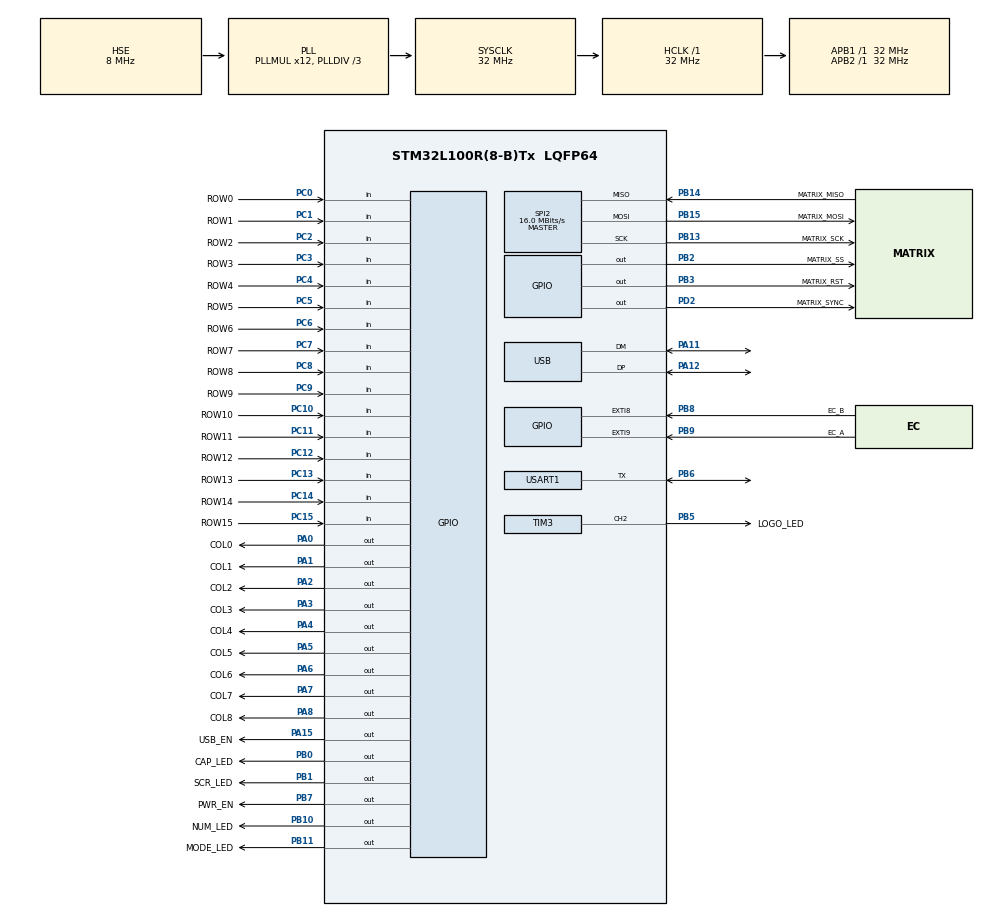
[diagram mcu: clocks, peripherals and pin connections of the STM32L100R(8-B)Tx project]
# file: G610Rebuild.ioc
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Dma.Request0=SPI2_TX
Dma.SPI2_TX.0.Direction=DMA_MEMORY_TO_PERIPH
Dma.SPI2_TX.0.Instance=DMA1_Channel5
Dma.SPI2_TX.0.MemDataAlignment=DMA_MDATAALIGN_BYTE
Dma.SPI2_TX.0.MemInc=DMA_MINC_ENABLE
Dma.SPI2_TX.0.Mode=DMA_NORMAL
Dma.SPI2_TX.0.PeriphDataAlignment=DMA_PDATAALIGN_BYTE
Dma.SPI2_TX.0.PeriphInc=DMA_PINC_DISABLE
Dma.SPI2_TX.0.Priority=DMA_PRIORITY_LOW
Mcu.Family=STM32L1
Mcu.Name=STM32L100R(8-B)Tx
Mcu.Package=LQFP64
NVIC.DMA1_Channel5_IRQn=true\:0\:0\:false\:false\:true\:false\:true
NVIC.EXTI9_5_IRQn=true\:4\:0\:true\:false\:true\:true\:true
NVIC.PriorityGroup=NVIC_PRIORITYGROUP_4
NVIC.SPI2_IRQn=true\:0\:0\:false\:false\:true\:true\:true
NVIC.TIM6_IRQn=true\:0\:0\:false\:false\:true\:true\:true
NVIC.USB_LP_IRQn=true\:3\:0\:true\:false\:true\:false\:true
PA0-WKUP1.GPIO_Label=COL0
PA0-WKUP1.GPIO_Speed=GPIO_SPEED_FREQ_VERY_HIGH
PA0-WKUP1.PinState=GPIO_PIN_SET
PA0-WKUP1.Signal=GPIO_Output
PA1.GPIO_Label=COL1
PA1.GPIO_Speed=GPIO_SPEED_FREQ_VERY_HIGH
PA1.PinState=GPIO_PIN_SET
PA1.Signal=GPIO_Output
PA11.Mode=Device
PA11.Signal=USB_DM
PA12.Mode=Device
PA12.Signal=USB_DP
PA13.GPIO_Label=SWDIO
PA13.Mode=Serial_Wire
PA13.Signal=SYS_JTMS-SWDIO
PA14.GPIO_Label=SWCLK
PA14.Mode=Serial_Wire
PA14.Signal=SYS_JTCK-SWCLK
PA15.GPIO_Label=USB_EN
PA15.GPIO_Speed=GPIO_SPEED_FREQ_LOW
PA15.Signal=GPIO_Output
PA2.GPIO_Label=COL2
PA2.GPIO_Speed=GPIO_SPEED_FREQ_VERY_HIGH
PA2.PinState=GPIO_PIN_SET
PA2.Signal=GPIO_Output
PA3.GPIO_Label=COL3
PA3.GPIO_Speed=GPIO_SPEED_FREQ_VERY_HIGH
PA3.PinState=GPIO_PIN_SET
PA3.Signal=GPIO_Output
PA4.GPIO_Label=COL4
PA4.GPIO_Speed=GPIO_SPEED_FREQ_VERY_HIGH
PA4.PinState=GPIO_PIN_SET
PA4.Signal=GPIO_Output
PA5.GPIO_Label=COL5
PA5.GPIO_Speed=GPIO_SPEED_FREQ_VERY_HIGH
PA5.PinState=GPIO_PIN_SET
PA5.Signal=GPIO_Output
PA6.GPIO_Label=COL6
PA6.GPIO_Speed=GPIO_SPEED_FREQ_VERY_HIGH
PA6.PinState=GPIO_PIN_SET
PA6.Signal=GPIO_Output
PA7.GPIO_Label=COL7
PA7.GPIO_Speed=GPIO_SPEED_FREQ_VERY_HIGH
PA7.PinState=GPIO_PIN_SET
PA7.Signal=GPIO_Output
PA8.GPIO_Label=COL8
PA8.GPIO_Speed=GPIO_SPEED_FREQ_VERY_HIGH
PA8.PinState=GPIO_PIN_SET
PA8.Signal=GPIO_Output
PB0.GPIO_Label=CAP_LED
PB0.GPIO_ModeDefaultOutputPP=GPIO_MODE_OUTPUT_PP
PB0.GPIO_PuPd=GPIO_NOPULL
PB0.Signal=GPIO_Output
PB1.GPIO_Label=SCR_LED
PB1.GPIO_ModeDefaultOutputPP=GPIO_MODE_OUTPUT_PP
PB1.GPIO_PuPd=GPIO_NOPULL
PB1.Signal=GPIO_Output
PB10.GPIO_Label=NUM_LED
PB10.GPIO_ModeDefaultOutputPP=GPIO_MODE_OUTPUT_PP
PB10.GPIO_PuPd=GPIO_NOPULL
PB10.Signal=GPIO_Output
PB11.GPIO_Label=MODE_LED
PB11.GPIO_ModeDefaultOutputPP=GPIO_MODE_OUTPUT_PP
PB11.GPIO_PuPd=GPIO_NOPULL
PB11.Signal=GPIO_Output
PB13.GPIO_Label=MATRIX_SCK
PB13.Mode=Full_Duplex_Master
PB13.Signal=SPI2_SCK
PB14.GPIO_Label=MATRIX_MISO
PB14.Mode=Full_Duplex_Master
PB14.Signal=SPI2_MISO
PB15.GPIO_Label=MATRIX_MOSI
PB15.Mode=Full_Duplex_Master
PB15.Signal=SPI2_MOSI
PB2.GPIO_Label=MATRIX_SS
PB2.GPIO_Speed=GPIO_SPEED_FREQ_VERY_HIGH
PB2.PinState=GPIO_PIN_SET
PB2.Signal=GPIO_Output
PB3.GPIO_Label=MATRIX_RST
PB3.Signal=GPIO_Output
PB5.GPIO_Label=LOGO_LED
PB5.Signal=S_TIM3_CH2
PB6.Mode=Half_duplex(single_wire_mode)
PB6.Signal=USART1_TX
PB7.GPIO_Label=PWR_EN
PB7.PinState=GPIO_PIN_SET
PB7.Signal=GPIO_Output
PB8.GPIO_Label=EC_B
PB8.GPIO_ModeDefaultEXTI=GPIO_MODE_IT_FALLING
PB8.GPIO_PuPd=GPIO_PULLUP
PB8.Signal=GPXTI8
PB9.GPIO_Label=EC_A
PB9.GPIO_ModeDefaultEXTI=GPIO_MODE_IT_RISING
PB9.GPIO_PuPd=GPIO_PULLUP
PB9.Signal=GPXTI9
PC0.GPIO_Label=ROW0
PC0.GPIO_PuPd=GPIO_PULLUP
PC0.Signal=GPIO_Input
PC1.GPIO_Label=ROW1
PC1.GPIO_PuPd=GPIO_PULLUP
PC1.Signal=GPIO_Input
PC10.GPIO_Label=ROW10
PC10.GPIO_PuPd=GPIO_PULLUP
PC10.Signal=GPIO_Input
PC11.GPIO_Label=ROW11
PC11.GPIO_PuPd=GPIO_PULLUP
PC11.Signal=GPIO_Input
PC12.GPIO_Label=ROW12
PC12.GPIO_PuPd=GPIO_PULLUP
PC12.Signal=GPIO_Input
PC13-WKUP2.GPIO_Label=ROW13
PC13-WKUP2.GPIO_PuPd=GPIO_PULLUP
PC13-WKUP2.Signal=GPIO_Input
PC14-OSC32_IN.GPIO_Label=ROW14
PC14-OSC32_IN.GPIO_PuPd=GPIO_PULLUP
PC14-OSC32_IN.Signal=GPIO_Input
PC15-OSC32_OUT.GPIO_Label=ROW15
PC15-OSC32_OUT.GPIO_PuPd=GPIO_PULLUP
PC15-OSC32_OUT.Signal=GPIO_Input
PC2.GPIO_Label=ROW2
PC2.GPIO_PuPd=GPIO_PULLUP
PC2.Signal=GPIO_Input
PC3.GPIO_Label=ROW3
PC3.GPIO_PuPd=GPIO_PULLUP
PC3.Signal=GPIO_Input
PC4.GPIO_Label=ROW4
PC4.GPIO_PuPd=GPIO_PULLUP
PC4.Signal=GPIO_Input
PC5.GPIO_Label=ROW5
PC5.GPIO_PuPd=GPIO_PULLUP
PC5.Signal=GPIO_Input
PC6.GPIO_Label=ROW6
PC6.GPIO_PuPd=GPIO_PULLUP
PC6.Signal=GPIO_Input
PC7.GPIO_Label=ROW7
PC7.GPIO_PuPd=GPIO_PULLUP
PC7.Signal=GPIO_Input
PC8.GPIO_Label=ROW8
PC8.GPIO_PuPd=GPIO_PULLUP
PC8.Signal=GPIO_Input
PC9.GPIO_Label=ROW9
PC9.GPIO_PuPd=GPIO_PULLUP
PC9.Signal=GPIO_Input
PD2.GPIO_Label=MATRIX_SYNC
PD2.Signal=GPIO_Output
PH0-OSC_IN.Mode=HSE-External-Oscillator
PH0-OSC_IN.Signal=RCC_OSC_IN
PH1-OSC_OUT.Mode=HSE-External-Oscillator
PH1-OSC_OUT.Signal=RCC_OSC_OUT
ProjectManager.HeapSize=0x400
ProjectManager.StackSize=0x800
ProjectManager.TargetToolchain=Makefile
RCC.48MHZClocksFreq_Value=48000000
RCC.AHBFreq_Value=32000000
RCC.APB1Freq_Value=32000000
RCC.APB1TimFreq_Value=32000000
RCC.APB2Freq_Value=32000000
RCC.APB2TimFreq_Value=32000000
RCC.HCLKFreq_Value=32000000
RCC.HSE_VALUE=8000000
RCC.HSI_VALUE=16000000
RCC.LSE_VALUE=32768
RCC.MSI_VALUE=2097000
RCC.PLLDIV=RCC_PLL_DIV3
RCC.PLLMUL=RCC_PLL_MUL12
RCC.SYSCLKFreq_VALUE=32000000
RCC.SYSCLKSource=RCC_SYSCLKSOURCE_PLLCLK
RCC.VCOOutputFreq_Value=96000000
SH.S_TIM3_CH2.0=TIM3_CH2,PWM Generation2 CH2
SPI2.BaudRatePrescaler=SPI_BAUDRATEPRESCALER_2
SPI2.CalculateBaudRate=16.0 MBits/s
SPI2.Direction=SPI_DIRECTION_2LINES
SPI2.Mode=SPI_MODE_MASTER
SPI2.VirtualType=VM_MASTER
TIM3.Channel-PWM\ Generation2\ CH2=TIM_CHANNEL_2
TIM3.OCPolarity_2=TIM_OCPOLARITY_HIGH
TIM3.Period=255
TIM3.Prescaler=10
TIM6.Period=999
TIM6.Prescaler=31
USART1.VirtualMode=VM_ASYNC
USB_DEVICE.CLASS_NAME_FS=HID
USB_DEVICE.MANUFACTURER_STRING=Lingex
USB_DEVICE.PID_HID_FS=20187
USB_DEVICE.PRODUCT_STRING_HID_FS=Lingex Rebuild G610
USB_DEVICE.VirtualMode=Hid
USB_DEVICE.VirtualModeFS=Hid_FS
VP_TIM6_VS_ClockSourceINT.Mode=Enable_Timer
VP_USB_DEVICE_VS_USB_DEVICE_HID_FS.Mode=HID_FS
board=custom

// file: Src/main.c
/* USER CODE BEGIN Header */
/**
  ******************************************************************************
  * @file           : main.c
  * @brief          : Main program body
  ******************************************************************************
  * @attention
  *
  * <h2><center>&copy; Copyright (c) 2020 STMicroelectronics.
  * All rights reserved.</center></h2>
  *
  * This software component is licensed by ST under Ultimate Liberty license
  * SLA0044, the "License"; You may not use this file except in compliance with
  * the License. You may obtain a copy of the License at:
  *                             www.st.com/SLA0044
  *
  ******************************************************************************
  */
/* USER CODE END Header */
#include "main.h"
#include "usb_device.h"

/* USER CODE BEGIN Includes */
#include "usbd_hid.h"
#include "usbhid.h"
#include "state_led.h"
#include "keyboard.h"
#include "matrix_led.h"
#include "ztask.h"

/* USER CODE END Includes */

/* USER CODE BEGIN PM */

const unsigned char KEYBOARD_Value_Map[MAX_COL][MAX_ROW] =
{
  {0           ,0        ,0                   ,0          ,0             ,0           ,0             ,0          ,KC_GAME  ,KC_BACKLIGHT,KC_MEDIA_PLAY ,KC_MEDIA_STOP,KC_MEDIA_SCAN_NEXT,KC_MEDIA_SCAN_PREV,KC_KP_MINUS     ,KC_MEDIA_MUTE,},
  {KC_ESCAPE   ,KC_F1    ,KC_F2               ,KC_F3      ,KC_F4         ,KC_F5       ,KC_F6         ,KC_F7      ,KC_F8    ,KC_F9       ,KC_F10        ,KC_F11       ,KC_F12            ,KC_PRINTSCREEN    ,KC_SCROLL_LOCK  ,KC_PAUSE    ,},
  {0           ,0        ,KC_TILDE            ,KC_1       ,KC_2          ,KC_3        ,KC_4          ,KC_5       ,KC_6     ,KC_7        ,KC_8          ,KC_9         ,KC_0              ,KC_UNDERSCORE     ,KC_PLUS         ,0           ,},
  {0           ,0        ,KC_TAB              ,KC_Q       ,KC_W          ,KC_E        ,KC_R          ,KC_T       ,KC_Y     ,KC_U        ,KC_I          ,KC_O         ,KC_P              ,KC_OPEN_BRACKET   ,KC_CLOSE_BRACKET,KC_BACKSLASH,},
  {0           ,0        ,KC_CAPS_LOCK        ,KC_A       ,KC_S          ,KC_D        ,KC_F          ,KC_G       ,KC_H     ,KC_J        ,KC_K          ,KC_L         ,KC_COLON          ,KC_QUOTE          ,0               ,KC_ENTER    ,},
  {0           ,0        ,KC_LSHIFT           ,0          ,KC_Z          ,KC_X        ,KC_C          ,KC_V       ,KC_B     ,KC_N        ,KC_M          ,KC_COMMA     ,KC_DOT            ,KC_SLASH          ,0               ,KC_RSHIFT   ,},
  {0           ,0        ,KC_LCTRL            ,KC_LGUI    ,KC_LALT       ,0           ,0             ,KC_SPACEBAR,0        ,0           ,0             ,KC_RALT      ,KC_RGUI           ,KC_FN             ,KC_RCTRL        ,KC_LEFT     ,},
  {KC_BACKSPACE,KC_INSERT,KC_HOME             ,KC_PAGEUP  ,KC_KP_NUM_LOCK,KC_KP_DIVIDE,KC_KP_MULTIPLY,KC_KP_PLUS ,KC_DELETE,KC_END      ,KC_PAGEDOWN   ,KC_KP_7      ,KC_KP_8           ,KC_KP_9           ,KC_KP_4         ,KC_KP_5     ,},
  {KC_RIGHT    ,KC_KP_0  ,KC_KP_DOT           ,KC_KP_ENTER,KC_KP_1       ,KC_KP_2     ,KC_KP_6       ,KC_KP_3    ,KC_DOWN  ,KC_UP       ,0             ,0            ,0                 ,0                 ,0               ,0           ,},
};

/* USER CODE END PM */

SPI_HandleTypeDef hspi2;
DMA_HandleTypeDef hdma_spi2_tx;

TIM_HandleTypeDef htim3;
TIM_HandleTypeDef htim6;

UART_HandleTypeDef huart1;

/* USER CODE BEGIN PV */

extern USBD_HandleTypeDef hUsbDeviceFS;

uint8_t keyChange = 0;
uint8_t brightnessChange = 0;

struct kbReportSt kbReport = {0};
struct nkroReportSt nkroReport = {0};

uint8_t brightness = 0;
uint8_t gameMode = 0;
uint8_t insertEnable = 0;
uint8_t smearLight = 0;
uint8_t numLockGuard = 0;

volatile bool time_1ms = false;

uint16_t intPin = 0;

volatile int16_t encoderCount = 0;

int zt_bindIdEncoder = 0; //encoder task restore bind id
int zt_bindIdCfgSave = 0;
int zt_bindIdEcDebounce = 0;
int zt_bindIdNumLockUp = 0;
int zt_bindIdNumLockDown = 0;
int zt_bindIdNumLockGuard = 0;

typedef void(*pFunction)(void);
pFunction JumpToApplication;
uint32_t JumpAddress;

/* USER CODE END PV */

void SystemClock_Config(void);
static void MX_GPIO_Init(void);
static void MX_DMA_Init(void);
static void MX_SPI2_Init(void);
static void MX_USART1_UART_Init(void);
static void MX_TIM3_Init(void);
static void MX_TIM6_Init(void);
/* USER CODE BEGIN PFP */

extern void KeyCheck(void);

void WriteEEPROM(uint32_t addr, uint32_t val);

void GameModeSw(void);
void InsertEnableSw(void);
void SmearLightEnableSw(void);
void NumLockGuardEnableSw(void);

void BrightnessSave(void);
void MediaKeyDown(uint8_t key);
void MediaKeyUp(void);
void VolumeKeyDown(uint8_t key);
void VolumeKeyUp(void);

void HAL_GPIO_EXTI_Callback(uint16_t GPIO_Pin);

void SetConfigSaveTask(void);

void ConfigSave(void);

void EncoderCheck(void);
void EncoderDebounce(void);
void NumLockTaskActive(void);
void NumLockTaskDeActive(void);
void NumLockDown(void);
void NumLockUp(void);
void NumLockGuard(void);
void DfuMode(void);
void MatrixTimer(void);

void RunOfficialApp(void);

/* USER CODE END PFP */

int main(void)
{
  /* USER CODE BEGIN 1 */
#ifndef _DEBUG_

	SCB->VTOR = APP_ADDR;

#else

	char debugBuff[64] = {'0'};

#endif

  /* USER CODE END 1 */

  /* MCU Configuration--------------------------------------------------------*/

  /* Reset of all peripherals, Initializes the Flash interface and the Systick. */
  HAL_Init();

  /* Configure the system clock */
  SystemClock_Config();

  /* Initialize all configured peripherals */
  MX_GPIO_Init();
  MX_DMA_Init();
  MX_USB_DEVICE_Init();
  MX_SPI2_Init();
  MX_USART1_UART_Init();
  MX_TIM3_Init();
  MX_TIM6_Init();
  /* USER CODE BEGIN 2 */

	  //wait connection OK
	while (hUsbDeviceFS.dev_config == 0)
	{
		SetLogoLED(50);
		HAL_Delay(100);
	}

#ifdef _DEBUG_
	sprintf(debugBuff, "keyboard: usb connected\n");
	HAL_UART_Transmit(&huart1, (uint8_t *)debugBuff, 64, 100);
#endif

	brightness = *(uint32_t*)BL_SETTING_ADDR;
	//gameMode = *(uint32_t*)MODE_SETTING_ADDR;
	insertEnable = *(uint32_t*)INSERT_SETTING_ADDR;
  smearLight = *(uint32_t*)SMEAR_SETTING_ADDR;
  numLockGuard = *(uint32_t*)NUM_LOCK_GUARD_SETTING_ADDR;

	SetModeLED(gameMode);

	MatrixInit();

	zt_bindIdEncoder = zt_bind(VolumeKeyUp, 20, 0);		//Volume adj key hold time
	zt_bindIdCfgSave = zt_bind(ConfigSave, 5000, 0);   //configs save delay when changed
	zt_bindIdEcDebounce = zt_bind(EncoderDebounce, 1, 0);
	zt_bindIdNumLockDown = zt_bind(NumLockDown, (int)(((uint8_t)HAL_GetTick()) + 100), 0);
	zt_bindIdNumLockUp = zt_bind(NumLockUp, 20, 0);
	zt_bindIdNumLockGuard = zt_bind(NumLockGuard, 25, 0);
	zt_bind(EncoderCheck, 10, 1);
	zt_bind(KeyCheck, 1, 1);

  zt_bind(MatrixTaskTimer, 1, 1);

	//zt_bind(MatrixTimer, 10, 1);
	zt_bind(MatrixTimer, 2, 1);

	kbReport.id = 1;		//report id
	nkroReport.id = NKRO_REPORT_ID;		//report id

  /* USER CODE END 2 */

  /* Infinite loop */
	while (1)
	{

    /* USER CODE BEGIN 3 */
		if (keyChange != 0)
		{
			keyChange = 0;
			if (gameMode == 0)
			{
				USBD_HID_SendReport(&hUsbDeviceFS, (uint8_t*)&kbReport, 9);	//6kro
			}
			else
			{
				nkroReport.modify = kbReport.modify;
				USBD_HID_SendNkroReport(&hUsbDeviceFS, (uint8_t*)&nkroReport, 25);	//nkro
			}

			//char debugBuff[64];
			//sprintf(debugBuff, "report modify[%u], [%u][%u][%u][%u][%u][%u]\n", kbReport.modify, kbReport.keys[0], kbReport.keys[1], kbReport.keys[2], kbReport.keys[3], kbReport.keys[4], kbReport.keys[5]);
			//HAL_UART_Transmit(&huart1, (uint8_t *)debugBuff, 64, 100);
		}
    if (brightnessChange != 0)
    {
      brightnessChange = 0;
      MatrixBrightnessChange();
    }

		if (time_1ms)
		{
			time_1ms = false;
			zt_tick();
			zt_poll();    //task execute
		}
		//on usb disconnect
		//another flag that can be use is dev_config = 0
		if (hUsbDeviceFS.dev_state != USBD_STATE_CONFIGURED)
		{
			//reset
#ifdef _DEBUG_
      sprintf(debugBuff, "keyboard: usb disconnected\n");
	    HAL_UART_Transmit(&huart1, (uint8_t *)debugBuff, 64, 100);
#endif
			HAL_Delay(500);
			DfuMode();
		}
	}
  /* USER CODE END 3 */
}

void SystemClock_Config(void)
{
  RCC_OscInitTypeDef RCC_OscInitStruct = {0};
  RCC_ClkInitTypeDef RCC_ClkInitStruct = {0};

  /** Configure the main internal regulator output voltage
  */
  __HAL_PWR_VOLTAGESCALING_CONFIG(PWR_REGULATOR_VOLTAGE_SCALE1);
  /** Initializes the RCC Oscillators according to the specified parameters
  * in the RCC_OscInitTypeDef structure.
  */
  RCC_OscInitStruct.OscillatorType = RCC_OSCILLATORTYPE_HSE;
  RCC_OscInitStruct.HSEState = RCC_HSE_ON;
  RCC_OscInitStruct.PLL.PLLState = RCC_PLL_ON;
  RCC_OscInitStruct.PLL.PLLSource = RCC_PLLSOURCE_HSE;
  RCC_OscInitStruct.PLL.PLLMUL = RCC_PLL_MUL12;
  RCC_OscInitStruct.PLL.PLLDIV = RCC_PLL_DIV3;
  if (HAL_RCC_OscConfig(&RCC_OscInitStruct) != HAL_OK)
  {
    Error_Handler();
  }
  /** Initializes the CPU, AHB and APB buses clocks
  */
  RCC_ClkInitStruct.ClockType = RCC_CLOCKTYPE_HCLK|RCC_CLOCKTYPE_SYSCLK
                              |RCC_CLOCKTYPE_PCLK1|RCC_CLOCKTYPE_PCLK2;
  RCC_ClkInitStruct.SYSCLKSource = RCC_SYSCLKSOURCE_PLLCLK;
  RCC_ClkInitStruct.AHBCLKDivider = RCC_SYSCLK_DIV1;
  RCC_ClkInitStruct.APB1CLKDivider = RCC_HCLK_DIV1;
  RCC_ClkInitStruct.APB2CLKDivider = RCC_HCLK_DIV1;

  if (HAL_RCC_ClockConfig(&RCC_ClkInitStruct, FLASH_LATENCY_1) != HAL_OK)
  {
    Error_Handler();
  }
}

static void MX_SPI2_Init(void)
{

  /* SPI2 parameter configuration*/
  hspi2.Instance = SPI2;
  hspi2.Init.Mode = SPI_MODE_MASTER;
  hspi2.Init.Direction = SPI_DIRECTION_2LINES;
  hspi2.Init.DataSize = SPI_DATASIZE_8BIT;
  hspi2.Init.CLKPolarity = SPI_POLARITY_LOW;
  hspi2.Init.CLKPhase = SPI_PHASE_1EDGE;
  hspi2.Init.NSS = SPI_NSS_SOFT;
  hspi2.Init.BaudRatePrescaler = SPI_BAUDRATEPRESCALER_2;
  hspi2.Init.FirstBit = SPI_FIRSTBIT_MSB;
  hspi2.Init.TIMode = SPI_TIMODE_DISABLE;
  hspi2.Init.CRCCalculation = SPI_CRCCALCULATION_DISABLE;
  hspi2.Init.CRCPolynomial = 10;
  if (HAL_SPI_Init(&hspi2) != HAL_OK)
  {
    Error_Handler();
  }

}

static void MX_TIM3_Init(void)
{

  TIM_MasterConfigTypeDef sMasterConfig = {0};
  TIM_OC_InitTypeDef sConfigOC = {0};

  htim3.Instance = TIM3;
  htim3.Init.Prescaler = 10;
  htim3.Init.CounterMode = TIM_COUNTERMODE_UP;
  htim3.Init.Period = 255;
  htim3.Init.ClockDivision = TIM_CLOCKDIVISION_DIV1;
  htim3.Init.AutoReloadPreload = TIM_AUTORELOAD_PRELOAD_DISABLE;
  if (HAL_TIM_PWM_Init(&htim3) != HAL_OK)
  {
    Error_Handler();
  }
  sMasterConfig.MasterOutputTrigger = TIM_TRGO_RESET;
  sMasterConfig.MasterSlaveMode = TIM_MASTERSLAVEMODE_DISABLE;
  if (HAL_TIMEx_MasterConfigSynchronization(&htim3, &sMasterConfig) != HAL_OK)
  {
    Error_Handler();
  }
  sConfigOC.OCMode = TIM_OCMODE_PWM1;
  sConfigOC.Pulse = 0;
  sConfigOC.OCPolarity = TIM_OCPOLARITY_HIGH;
  sConfigOC.OCFastMode = TIM_OCFAST_DISABLE;
  if (HAL_TIM_PWM_ConfigChannel(&htim3, &sConfigOC, TIM_CHANNEL_2) != HAL_OK)
  {
    Error_Handler();
  }
  /* USER CODE BEGIN TIM3_Init 2 */
	HAL_TIM_PWM_Start(&htim3, TIM_CHANNEL_2);
  /* USER CODE END TIM3_Init 2 */
  HAL_TIM_MspPostInit(&htim3);

}

static void MX_TIM6_Init(void)
{

  TIM_MasterConfigTypeDef sMasterConfig = {0};

  htim6.Instance = TIM6;
  htim6.Init.Prescaler = 31;
  htim6.Init.CounterMode = TIM_COUNTERMODE_UP;
  htim6.Init.Period = 999;
  htim6.Init.AutoReloadPreload = TIM_AUTORELOAD_PRELOAD_DISABLE;
  if (HAL_TIM_Base_Init(&htim6) != HAL_OK)
  {
    Error_Handler();
  }
  sMasterConfig.MasterOutputTrigger = TIM_TRGO_RESET;
  sMasterConfig.MasterSlaveMode = TIM_MASTERSLAVEMODE_DISABLE;
  if (HAL_TIMEx_MasterConfigSynchronization(&htim6, &sMasterConfig) != HAL_OK)
  {
    Error_Handler();
  }
  /* USER CODE BEGIN TIM6_Init 2 */
	HAL_TIM_Base_Start_IT(&htim6);
  /* USER CODE END TIM6_Init 2 */

}

static void MX_USART1_UART_Init(void)
{

  huart1.Instance = USART1;
  huart1.Init.BaudRate = 115200;
  huart1.Init.WordLength = UART_WORDLENGTH_8B;
  huart1.Init.StopBits = UART_STOPBITS_1;
  huart1.Init.Parity = UART_PARITY_NONE;
  huart1.Init.Mode = UART_MODE_TX_RX;
  huart1.Init.HwFlowCtl = UART_HWCONTROL_NONE;
  huart1.Init.OverSampling = UART_OVERSAMPLING_16;
  if (HAL_HalfDuplex_Init(&huart1) != HAL_OK)
  {
    Error_Handler();
  }
  /* USER CODE BEGIN USART1_Init 2 */
	HAL_HalfDuplex_EnableTransmitter(&huart1);
  /* USER CODE END USART1_Init 2 */

}

static void MX_DMA_Init(void)
{

  /* DMA controller clock enable */
  __HAL_RCC_DMA1_CLK_ENABLE();

  /* DMA interrupt init */
  /* DMA1_Channel5_IRQn interrupt configuration */
  HAL_NVIC_SetPriority(DMA1_Channel5_IRQn, 0, 0);
  HAL_NVIC_EnableIRQ(DMA1_Channel5_IRQn);

}

static void MX_GPIO_Init(void)
{
  GPIO_InitTypeDef GPIO_InitStruct = {0};

  /* GPIO Ports Clock Enable */
  __HAL_RCC_GPIOC_CLK_ENABLE();
  __HAL_RCC_GPIOH_CLK_ENABLE();
  __HAL_RCC_GPIOA_CLK_ENABLE();
  __HAL_RCC_GPIOB_CLK_ENABLE();
  __HAL_RCC_GPIOD_CLK_ENABLE();

  /*Configure GPIO pin Output Level */
  HAL_GPIO_WritePin(GPIOA, COL0_Pin|COL1_Pin|COL2_Pin|COL3_Pin
                          |COL4_Pin|COL5_Pin|COL6_Pin|COL7_Pin
                          |COL8_Pin, GPIO_PIN_SET);

  /*Configure GPIO pin Output Level */
  HAL_GPIO_WritePin(GPIOB, CAP_LED_Pin|SCR_LED_Pin|NUM_LED_Pin|MODE_LED_Pin
                          |MATRIX_RST_Pin, GPIO_PIN_RESET);

  /*Configure GPIO pin Output Level */
  HAL_GPIO_WritePin(GPIOB, MATRIX_SS_Pin|PWR_EN_Pin, GPIO_PIN_SET);

  /*Configure GPIO pin Output Level */
  HAL_GPIO_WritePin(USB_EN_GPIO_Port, USB_EN_Pin, GPIO_PIN_RESET);

  /*Configure GPIO pin Output Level */
  HAL_GPIO_WritePin(MATRIX_SYNC_GPIO_Port, MATRIX_SYNC_Pin, GPIO_PIN_RESET);

  /*Configure GPIO pins : ROW13_Pin ROW14_Pin ROW15_Pin ROW0_Pin
                           ROW1_Pin ROW2_Pin ROW3_Pin ROW4_Pin
                           ROW5_Pin ROW6_Pin ROW7_Pin ROW8_Pin
                           ROW9_Pin ROW10_Pin ROW11_Pin ROW12_Pin */
  GPIO_InitStruct.Pin = ROW13_Pin|ROW14_Pin|ROW15_Pin|ROW0_Pin
                          |ROW1_Pin|ROW2_Pin|ROW3_Pin|ROW4_Pin
                          |ROW5_Pin|ROW6_Pin|ROW7_Pin|ROW8_Pin
                          |ROW9_Pin|ROW10_Pin|ROW11_Pin|ROW12_Pin;
  GPIO_InitStruct.Mode = GPIO_MODE_INPUT;
  GPIO_InitStruct.Pull = GPIO_PULLUP;
  HAL_GPIO_Init(GPIOC, &GPIO_InitStruct);

  /*Configure GPIO pins : COL0_Pin COL1_Pin COL2_Pin COL3_Pin
                           COL4_Pin COL5_Pin COL6_Pin COL7_Pin
                           COL8_Pin */
  GPIO_InitStruct.Pin = COL0_Pin|COL1_Pin|COL2_Pin|COL3_Pin
                          |COL4_Pin|COL5_Pin|COL6_Pin|COL7_Pin
                          |COL8_Pin;
  GPIO_InitStruct.Mode = GPIO_MODE_OUTPUT_PP;
  GPIO_InitStruct.Pull = GPIO_NOPULL;
  GPIO_InitStruct.Speed = GPIO_SPEED_FREQ_VERY_HIGH;
  HAL_GPIO_Init(GPIOA, &GPIO_InitStruct);

  /*Configure GPIO pins : CAP_LED_Pin SCR_LED_Pin NUM_LED_Pin MODE_LED_Pin
                           MATRIX_RST_Pin PWR_EN_Pin */
  GPIO_InitStruct.Pin = CAP_LED_Pin|SCR_LED_Pin|NUM_LED_Pin|MODE_LED_Pin
                          |MATRIX_RST_Pin|PWR_EN_Pin;
  GPIO_InitStruct.Mode = GPIO_MODE_OUTPUT_PP;
  GPIO_InitStruct.Pull = GPIO_NOPULL;
  GPIO_InitStruct.Speed = GPIO_SPEED_FREQ_LOW;
  HAL_GPIO_Init(GPIOB, &GPIO_InitStruct);

  /*Configure GPIO pin : MATRIX_SS_Pin */
  GPIO_InitStruct.Pin = MATRIX_SS_Pin;
  GPIO_InitStruct.Mode = GPIO_MODE_OUTPUT_PP;
  GPIO_InitStruct.Pull = GPIO_NOPULL;
  GPIO_InitStruct.Speed = GPIO_SPEED_FREQ_VERY_HIGH;
  HAL_GPIO_Init(MATRIX_SS_GPIO_Port, &GPIO_InitStruct);

  /*Configure GPIO pin : USB_EN_Pin */
  GPIO_InitStruct.Pin = USB_EN_Pin;
  GPIO_InitStruct.Mode = GPIO_MODE_OUTPUT_PP;
  GPIO_InitStruct.Pull = GPIO_NOPULL;
  GPIO_InitStruct.Speed = GPIO_SPEED_FREQ_LOW;
  HAL_GPIO_Init(USB_EN_GPIO_Port, &GPIO_InitStruct);

  /*Configure GPIO pin : MATRIX_SYNC_Pin */
  GPIO_InitStruct.Pin = MATRIX_SYNC_Pin;
  GPIO_InitStruct.Mode = GPIO_MODE_OUTPUT_PP;
  GPIO_InitStruct.Pull = GPIO_NOPULL;
  GPIO_InitStruct.Speed = GPIO_SPEED_FREQ_LOW;
  HAL_GPIO_Init(MATRIX_SYNC_GPIO_Port, &GPIO_InitStruct);

  /*Configure GPIO pin : EC_B_Pin */
  GPIO_InitStruct.Pin = EC_B_Pin;
  GPIO_InitStruct.Mode = GPIO_MODE_IT_FALLING;
  GPIO_InitStruct.Pull = GPIO_PULLUP;
  HAL_GPIO_Init(EC_B_GPIO_Port, &GPIO_InitStruct);

  /*Configure GPIO pin : EC_A_Pin */
  GPIO_InitStruct.Pin = EC_A_Pin;
  GPIO_InitStruct.Mode = GPIO_MODE_IT_RISING;
  GPIO_InitStruct.Pull = GPIO_PULLUP;
  HAL_GPIO_Init(EC_A_GPIO_Port, &GPIO_InitStruct);

  /* EXTI interrupt init*/
  HAL_NVIC_SetPriority(EXTI9_5_IRQn, 4, 0);
  HAL_NVIC_EnableIRQ(EXTI9_5_IRQn);

}

/* USER CODE BEGIN 4 */

/**
  * @brief  Tx Transfer completed callback.
  * @param  hspi: SPI handle
  * @note   This example shows a simple way to report end of DMA Tx transfer, and
  *         you can add your own implementation.
  * @retval None
  */
void HAL_SPI_TxCpltCallback(SPI_HandleTypeDef *hspi)
{
	if (hspi->Instance == SPI2)
	{
		SetSpiSSPin();
	}
}

/**
  * @brief  SPI error callbacks.
  * @param  hspi: SPI handle
  * @note   This example shows a simple way to report transfer error, and you can
  *         add your own implementation.
  * @retval None
  */
void HAL_SPI_ErrorCallback(SPI_HandleTypeDef *hspi)
{

}

void WriteEEPROM(uint32_t addr, uint32_t val)
{
	HAL_FLASHEx_DATAEEPROM_Unlock();

	HAL_FLASHEx_DATAEEPROM_Erase(FLASH_TYPEPROGRAM_WORD, addr);

	HAL_FLASHEx_DATAEEPROM_Program(FLASH_TYPEPROGRAM_WORD, addr, val);

	HAL_FLASHEx_DATAEEPROM_Lock();
}

void GameModeSw(void)
{
	gameMode = gameMode > 0 ? 0 : 1;

	SetModeLED(gameMode);
	//WriteEEPROM(MODE_SETTING_ADDR, gameMode);
	//SetConfigSaveTask();
}

void InsertEnableSw(void)
{
	insertEnable = insertEnable > 0 ? 0 : 1;

	//WriteEEPROM(INSERT_SETTING_ADDR, insertEnable);
	SetConfigSaveTask();
}

void SmearLightEnableSw(void)
{
  smearLight = smearLight > 0 ? 0 : 1;
  SetConfigSaveTask();
}

void NumLockGuardEnableSw(void)
{
  numLockGuard = numLockGuard > 0 ? 0 : 1;
  SetConfigSaveTask();
}

void BrightnessSave(void)
{
	//WriteEEPROM(BL_SETTING_ADDR, brightness);
	SetConfigSaveTask();
}

void DfuMode(void)
{
	//soft reset
	HAL_RCC_DeInit();
	HAL_DeInit();
	SCB->VTOR = (FLASH_BASE | 0x0000);
	NVIC_SystemReset();
}

void MatrixTimer(void)
{
  //if (smearLight != 0)
  {
    MatrixEffectTimer(HAL_GetTick());
  }
}

void MediaKeyDown(uint8_t key)
{
	uint8_t report[3];
	report[0] = HID_MEDIA_REPORT;
	report[1] = key;
	report[2] = 0x00;
	USBD_HID_SendReport(&hUsbDeviceFS, report, 3);
}

void RunOfficialApp(void)
{
#if 0
	JumpAddress = *(__IO uint32_t*)(OFFICIAL_ADDR + 4);
	JumpToApplication = (pFunction)JumpAddress;

	__set_MSP(*(__IO uint32_t*)OFFICIAL_ADDR);
	JumpToApplication();
	while (1); // never reached
#else
	uint32_t appStack;
	pFunction appEntry;

	//__disable_irq();		//won't work when this execute
  //HAL_NVIC_ClearPendingIRQ(SysTick_IRQn);

	// get the application stack pointer (1st entry in the app vector table)
	appStack = (uint32_t)*((__IO uint32_t*)OFFICIAL_ADDR);

	// Get the app entry point (2nd entry in the app vector table
	appEntry = (pFunction)*(__IO uint32_t*)(OFFICIAL_ADDR + 4);

	HAL_RCC_DeInit();
	HAL_DeInit();

	SysTick->CTRL = 0;
	SysTick->LOAD = 0;
	SysTick->VAL = 0;

	// Reconfigure vector table offset to match the app location
	SCB->VTOR = OFFICIAL_ADDR;
	__set_MSP(appStack); // Set app stack pointer
	appEntry(); // Start the app

	while (1); // never reached

#endif
}

void MediaKeyUp(void)
{
	uint8_t report[3];
	report[0] = HID_MEDIA_REPORT;
	report[1] = 0x00;
	report[2] = 0x00;
	USBD_HID_SendReport(&hUsbDeviceFS, report, 3);
}

void VolumeKeyDown(uint8_t key)
{
	MediaKeyDown(key);
	//HAL_NVIC_DisableIRQ(EXTI9_5_IRQn);
}

void VolumeKeyUp(void)
{
	MediaKeyUp();
	zt_stop(zt_bindIdEncoder);
	//HAL_NVIC_EnableIRQ(EXTI9_5_IRQn);
}

void SetConfigSaveTask(void)
{
	zt_start(zt_bindIdCfgSave, 1);
}

void ConfigSave(void)
{
	zt_stop(zt_bindIdCfgSave);
	WriteEEPROM(MODE_SETTING_ADDR, gameMode);
	WriteEEPROM(INSERT_SETTING_ADDR, insertEnable);
	WriteEEPROM(BL_SETTING_ADDR, brightness);
	WriteEEPROM(SMEAR_SETTING_ADDR, smearLight);
	WriteEEPROM(NUM_LOCK_GUARD_SETTING_ADDR, numLockGuard);
}

void USBD_HID_GetReport(uint8_t * report, int len)
{
	// see from http://www.microchip.com/forums/m433757.aspx
	// report[0] is the report id
	// report[1] is the led bit filed
	if (report[0] == 1)
	{
		// report id 1 is "led" refer to report id in hid report des
		SetNumLockLED(report[1] & 0x01);
		SetCapsLockLED(report[1] & 0x02);
		SetScrollLockLED(report[1] & 0x04);
	}
}

void EncoderCheck(void)
{
	if (encoderCount != 0 && (encoderCount > 1 || encoderCount < -1))
	{
		if (encoderCount > 0)
		{
			VolumeKeyDown(KC_MEDIA_VOLUME_UP_VAL);
		}
		else if (encoderCount < 0)
		{
			VolumeKeyDown(KC_MEDIA_VOLUME_DOWN_VAL);
		}
		encoderCount = 0;
		zt_start(zt_bindIdEncoder, 1);
	}
}

void EncoderDebounce(void)
{
	GPIO_PinState pinUp = HAL_GPIO_ReadPin(GPIOB, EC_UP_PIN);
	GPIO_PinState pinDown = HAL_GPIO_ReadPin(GPIOB, EC_DOWN_PIN);

	if (intPin == EC_UP_PIN)
	{
		if (pinDown == GPIO_PIN_SET)
		{
			encoderCount++;
		}
		else
		{
			encoderCount--;
		}
	}
	if (intPin == EC_DOWN_PIN)
	{
		if (pinUp == GPIO_PIN_SET)
		{
			encoderCount++;
		}
		else
		{
			encoderCount--;
		}
	}
	intPin = 0;
	zt_stop(zt_bindIdEcDebounce);
	HAL_NVIC_EnableIRQ(EXTI9_5_IRQn);
}

void NumLockDown(void)
{
  struct kbReportSt tmpReport;
  tmpReport.id = 1;
  tmpReport.modify = 0;
  tmpReport.keys[0] = KC_KP_NUM_LOCK;
  tmpReport.keys[1] = 0;
  tmpReport.keys[2] = 0;
  tmpReport.keys[3] = 0;
  tmpReport.keys[4] = 0;
  tmpReport.keys[5] = 0;

  USBD_HID_SendReport(&hUsbDeviceFS, (uint8_t*)&tmpReport, 9);	//6kro report

  zt_stop(zt_bindIdNumLockDown);
  zt_start(zt_bindIdNumLockUp, 1);
}

void NumLockUp(void)
{
  struct kbReportSt tmpReport;
  tmpReport.id = 1;
  tmpReport.modify = 0;
  tmpReport.keys[0] = 0;
  tmpReport.keys[1] = 0;
  tmpReport.keys[2] = 0;
  tmpReport.keys[3] = 0;
  tmpReport.keys[4] = 0;
  tmpReport.keys[5] = 0;

  USBD_HID_SendReport(&hUsbDeviceFS, (uint8_t*)&tmpReport, 9);	//6kro report
  zt_stop(zt_bindIdNumLockUp);
}

void NumLockTaskActive(void)
{
  if (numLockGuard == 0)
  {
    return;
  }

  for (uint8_t i = 0; i < 6; i++)
  {
    if (kbReport.keys[i] == KC_KP_NUM_LOCK)
    {
      //still pressing, active guard
      zt_start(zt_bindIdNumLockGuard, 1);
      return;
    }
  }

  zt_start(zt_bindIdNumLockDown, 1);
}

void NumLockTaskDeActive(void)
{
  if (numLockGuard == 0)
  {
    return;
  }
  zt_stop(zt_bindIdNumLockGuard);
  zt_stop(zt_bindIdNumLockDown);
}

void NumLockGuard(void)
{
  for (uint8_t i = 0; i < 6; i++)
  {
    if (kbReport.keys[i] == KC_KP_NUM_LOCK)
    {
      //still pressing
      return;
    }
  }
  zt_stop(zt_bindIdNumLockGuard);
  zt_start(zt_bindIdNumLockDown, 1);
}

//encoder interrupt
void HAL_GPIO_EXTI_Callback(uint16_t GPIO_Pin)
{
	GPIO_PinState pinUp = HAL_GPIO_ReadPin(GPIOB, EC_UP_PIN);
	GPIO_PinState pinDown = HAL_GPIO_ReadPin(GPIOB, EC_DOWN_PIN);

	if ((GPIO_Pin == EC_UP_PIN && pinUp == GPIO_PIN_SET) || (GPIO_Pin == EC_DOWN_PIN && pinDown == GPIO_PIN_RESET))
	{
		intPin = GPIO_Pin;
		HAL_NVIC_DisableIRQ(EXTI9_5_IRQn);
		zt_start(zt_bindIdEcDebounce, 1);
	}
}

void HAL_TIM_PeriodElapsedCallback(TIM_HandleTypeDef *htim)
{
	if (htim->Instance == htim6.Instance)
	{
		time_1ms = true;
	}
}

/* USER CODE END 4 */

void Error_Handler(void)
{
}

/************************ (C) COPYRIGHT STMicroelectronics *****END OF FILE****/
